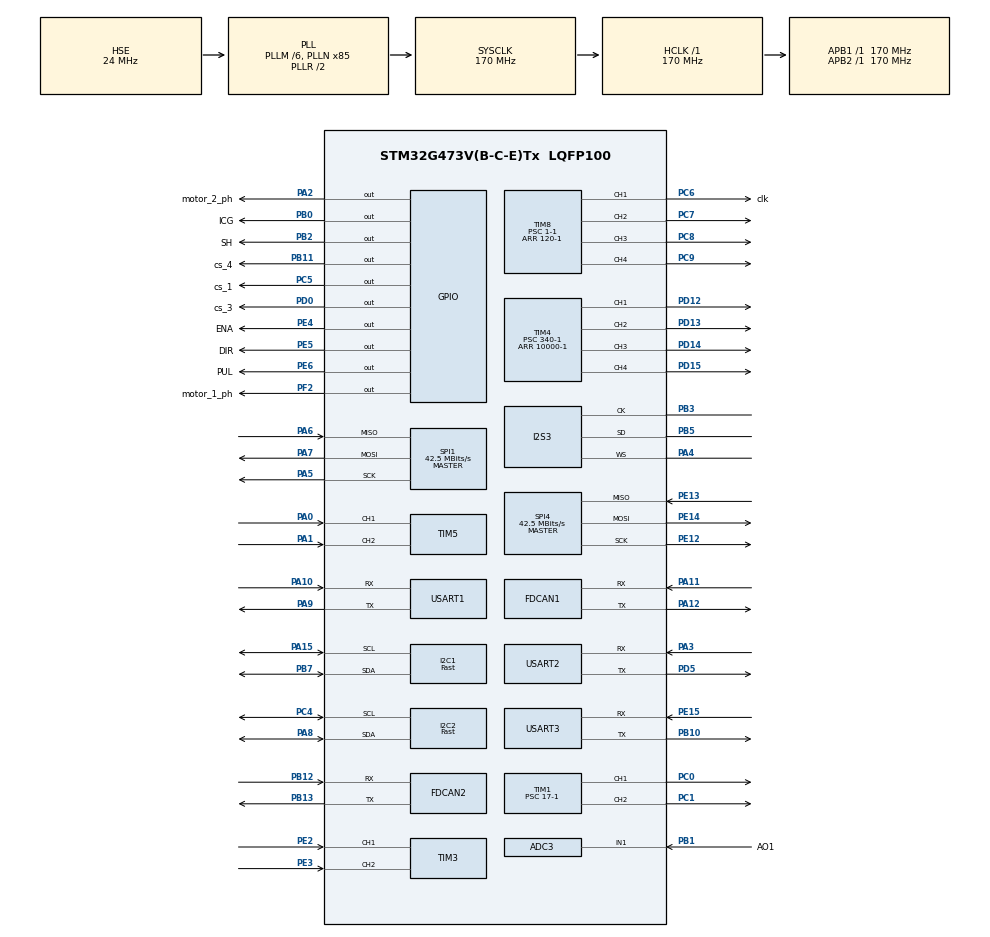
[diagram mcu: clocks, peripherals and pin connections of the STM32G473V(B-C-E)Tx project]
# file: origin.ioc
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ADC3.Channel-1\#ChannelRegularConversion=ADC_CHANNEL_1
ADC3.ClockPrescaler=ADC_CLOCK_SYNC_PCLK_DIV4
ADC3.DMAContinuousRequests=ENABLE
ADC3.ExternalTrigConv=ADC_EXTERNALTRIG_T7_TRGO
ADC3.NbrOfConversion=1
ADC3.NbrOfConversionFlag=1
ADC3.OffsetNumber-1\#ChannelRegularConversion=ADC_OFFSET_NONE
ADC3.Rank-1\#ChannelRegularConversion=1
ADC3.SamplingTime-1\#ChannelRegularConversion=ADC_SAMPLETIME_12CYCLES_5
ADC3.master=1
Dma.ADC3.0.Direction=DMA_PERIPH_TO_MEMORY
Dma.ADC3.0.EventEnable=DISABLE
Dma.ADC3.0.Instance=DMA1_Channel1
Dma.ADC3.0.MemDataAlignment=DMA_MDATAALIGN_HALFWORD
Dma.ADC3.0.MemInc=DMA_MINC_ENABLE
Dma.ADC3.0.Mode=DMA_NORMAL
Dma.ADC3.0.PeriphDataAlignment=DMA_PDATAALIGN_HALFWORD
Dma.ADC3.0.PeriphInc=DMA_PINC_DISABLE
Dma.ADC3.0.Polarity=HAL_DMAMUX_REQ_GEN_RISING
Dma.ADC3.0.Priority=DMA_PRIORITY_LOW
Dma.ADC3.0.RequestNumber=1
Dma.ADC3.0.SignalID=NONE
Dma.ADC3.0.SyncEnable=DISABLE
Dma.ADC3.0.SyncPolarity=HAL_DMAMUX_SYNC_NO_EVENT
Dma.ADC3.0.SyncRequestNumber=1
Dma.ADC3.0.SyncSignalID=NONE
Dma.Request0=ADC3
FDCAN1.CalculateBaudRateNominal=3541666
FDCAN1.CalculateTimeBitNominal=282
FDCAN1.CalculateTimeQuantumNominal=94.11764705882354
FDCAN2.CalculateBaudRateNominal=3541666
FDCAN2.CalculateTimeBitNominal=282
FDCAN2.CalculateTimeQuantumNominal=94.11764705882354
I2C1.I2C_Speed_Mode=I2C_Fast
I2C1.Timing=0x40621236
I2C2.I2C_Speed_Mode=I2C_Fast
I2C2.Timing=0x40621236
I2S3.AudioFreq=I2S_AUDIOFREQ_16K
I2S3.ErrorAudioFreq=0.0 %
I2S3.FullDuplexMode=I2S_FULLDUPLEXMODE_DISABLE
I2S3.Instance=SPI$Index
I2S3.RealAudioFreq=16.001 KHz
I2S3.VirtualMode=I2S_MODE_MASTER
Mcu.Family=STM32G4
Mcu.Name=STM32G473V(B-C-E)Tx
Mcu.Package=LQFP100
NVIC.DMA1_Channel1_IRQn=true\:0\:0\:false\:false\:true\:false\:true\:true
NVIC.PriorityGroup=NVIC_PRIORITYGROUP_4
NVIC.TIM2_IRQn=true\:0\:0\:false\:false\:true\:true\:true\:true
NVIC.TIM6_DAC_IRQn=true\:0\:0\:false\:false\:true\:true\:true\:true
PA0.Signal=S_TIM5_CH1
PA1.Signal=S_TIM5_CH2
PA10.Mode=Asynchronous
PA10.Signal=USART1_RX
PA11.Mode=FDCAN_Activate
PA11.Signal=FDCAN1_RX
PA12.Mode=FDCAN_Activate
PA12.Signal=FDCAN1_TX
PA13.Mode=Serial_Wire
PA13.Signal=SYS_JTMS-SWDIO
PA14.Mode=Serial_Wire
PA14.Signal=SYS_JTCK-SWCLK
PA15.Mode=I2C
PA15.Signal=I2C1_SCL
PA2.GPIO_Label=motor_2_ph
PA2.Signal=GPIO_Output
PA3.Mode=Asynchronous
PA3.Signal=USART2_RX
PA4.Mode=Half_Duplex_Master
PA4.Signal=I2S3_WS
PA5.Mode=Full_Duplex_Master
PA5.Signal=SPI1_SCK
PA6.Mode=Full_Duplex_Master
PA6.Signal=SPI1_MISO
PA7.Mode=Full_Duplex_Master
PA7.Signal=SPI1_MOSI
PA8.Mode=I2C
PA8.Signal=I2C2_SDA
PA9.Mode=Asynchronous
PA9.Signal=USART1_TX
PB0.GPIO_Label=ICG
PB0.Signal=GPIO_Output
PB1.GPIO_Label=AO1
PB1.Mode=IN1-Single-Ended
PB1.Signal=ADC3_IN1
PB10.Mode=Asynchronous
PB10.Signal=USART3_TX
PB11.GPIO_Label=cs_4
PB11.Signal=GPIO_Output
PB12.Mode=FDCAN_Activate
PB12.Signal=FDCAN2_RX
PB13.Mode=FDCAN_Activate
PB13.Signal=FDCAN2_TX
PB2.GPIO_Label=SH
PB2.GPIO_Speed=GPIO_SPEED_FREQ_VERY_HIGH
PB2.Signal=GPIO_Output
PB3.Mode=Half_Duplex_Master
PB3.Signal=I2S3_CK
PB5.Mode=Half_Duplex_Master
PB5.Signal=I2S3_SD
PB7.Mode=I2C
PB7.Signal=I2C1_SDA
PC0.Signal=S_TIM1_CH1
PC1.Signal=S_TIM1_CH2
PC10.Signal=UART4_TX
PC11.Signal=UART4_RX
PC12.Signal=UART5_TX
PC4.Mode=I2C
PC4.Signal=I2C2_SCL
PC5.GPIO_Label=cs_1
PC5.Signal=GPIO_Output
PC6.GPIO_Label=clk
PC6.Signal=S_TIM8_CH1
PC7.Signal=S_TIM8_CH2
PC8.Signal=S_TIM8_CH3
PC9.Signal=S_TIM8_CH4
PD0.GPIO_Label=cs_3
PD0.Signal=GPIO_Output
PD10.Signal=ADC5_IN7
PD11.Signal=ADC5_IN8
PD12.Signal=S_TIM4_CH1
PD13.Signal=S_TIM4_CH2
PD14.Signal=S_TIM4_CH3
PD15.Signal=S_TIM4_CH4
PD2.Signal=UART5_RX
PD3.Signal=S_TIM2_CH1
PD4.Signal=S_TIM2_CH2
PD5.Mode=Asynchronous
PD5.Signal=USART2_TX
PD6.Signal=S_TIM2_CH4
PD7.Signal=S_TIM2_CH3
PD8.Signal=ADC5_IN12
PD9.Signal=ADC5_IN13
PE12.Mode=Full_Duplex_Master
PE12.Signal=SPI4_SCK
PE13.Mode=Full_Duplex_Master
PE13.Signal=SPI4_MISO
PE14.Mode=Full_Duplex_Master
PE14.Signal=SPI4_MOSI
PE15.Mode=Asynchronous
PE15.Signal=USART3_RX
PE2.Signal=S_TIM3_CH1
PE3.Signal=S_TIM3_CH2
PE4.GPIO_Label=ENA
PE4.Signal=GPIO_Output
PE5.GPIO_Label=DIR
PE5.Signal=GPIO_Output
PE6.GPIO_Label=PUL
PE6.Signal=GPIO_Output
PE9.GPIO_Label=ccd_b
PE9.Signal=ADC3_IN2
PF0-OSC_IN.Mode=HSE-External-Oscillator
PF0-OSC_IN.Signal=RCC_OSC_IN
PF1-OSC_OUT.Mode=HSE-External-Oscillator
PF1-OSC_OUT.Signal=RCC_OSC_OUT
PF2.GPIO_Label=motor_1_ph
PF2.Signal=GPIO_Output
ProjectManager.HeapSize=0x200
ProjectManager.StackSize=0x400
ProjectManager.TargetToolchain=MDK-ARM V5.32
RCC.ADC12Freq_Value=170000000
RCC.ADC345Freq_Value=170000000
RCC.AHBFreq_Value=170000000
RCC.APB1Freq_Value=170000000
RCC.APB1TimFreq_Value=170000000
RCC.APB2Freq_Value=170000000
RCC.APB2TimFreq_Value=170000000
RCC.CortexFreq_Value=170000000
RCC.EXTERNAL_CLOCK_VALUE=12288000
RCC.HCLKFreq_Value=170000000
RCC.HSE_VALUE=24000000
RCC.HSI48_VALUE=48000000
RCC.HSI_VALUE=16000000
RCC.LSE_VALUE=32768
RCC.PLLM=RCC_PLLM_DIV6
RCC.PLLN=85
RCC.PLLSourceVirtual=RCC_PLLSOURCE_HSE
RCC.SYSCLKFreq_VALUE=170000000
RCC.SYSCLKSource=RCC_SYSCLKSOURCE_PLLCLK
RCC.USBFreq_Value=170000000
RCC.VCOOutputFreq_Value=340000000
SH.S_TIM1_CH1.0=TIM1_CH1,PWM Generation1 CH1
SH.S_TIM1_CH2.0=TIM1_CH2,PWM Generation2 CH2
SH.S_TIM2_CH1.0=TIM2_CH1
SH.S_TIM2_CH2.0=TIM2_CH2
SH.S_TIM2_CH3.0=TIM2_CH3
SH.S_TIM2_CH4.0=TIM2_CH4
SH.S_TIM3_CH1.0=TIM3_CH1,Encoder_Interface
SH.S_TIM3_CH2.0=TIM3_CH2,Encoder_Interface
SH.S_TIM4_CH1.0=TIM4_CH1,PWM Generation1 CH1
SH.S_TIM4_CH2.0=TIM4_CH2,PWM Generation2 CH2
SH.S_TIM4_CH3.0=TIM4_CH3,PWM Generation3 CH3
SH.S_TIM4_CH4.0=TIM4_CH4,PWM Generation4 CH4
SH.S_TIM5_CH1.0=TIM5_CH1,Encoder_Interface
SH.S_TIM5_CH2.0=TIM5_CH2,Encoder_Interface
SH.S_TIM8_CH1.0=TIM8_CH1,PWM Generation1 CH1
SH.S_TIM8_CH2.0=TIM8_CH2,PWM Generation2 CH2
SH.S_TIM8_CH3.0=TIM8_CH3,PWM Generation3 CH3
SH.S_TIM8_CH4.0=TIM8_CH4,PWM Generation4 CH4
SPI1.BaudRatePrescaler=SPI_BAUDRATEPRESCALER_4
SPI1.CalculateBaudRate=42.5 MBits/s
SPI1.Direction=SPI_DIRECTION_2LINES
SPI1.Mode=SPI_MODE_MASTER
SPI1.VirtualType=VM_MASTER
SPI4.BaudRatePrescaler=SPI_BAUDRATEPRESCALER_4
SPI4.CalculateBaudRate=42.5 MBits/s
SPI4.Direction=SPI_DIRECTION_2LINES
SPI4.Mode=SPI_MODE_MASTER
SPI4.VirtualType=VM_MASTER
TIM1.AutoReloadPreload=TIM_AUTORELOAD_PRELOAD_ENABLE
TIM1.Channel-PWM\ Generation1\ CH1=TIM_CHANNEL_1
TIM1.Channel-PWM\ Generation2\ CH2=TIM_CHANNEL_2
TIM1.PeriodNoDither=1000-1
TIM1.Prescaler=17-1
TIM2.AutoReloadPreload=TIM_AUTORELOAD_PRELOAD_ENABLE
TIM2.PeriodNoDither=5000-1
TIM2.Prescaler=170-1
TIM4.Channel-PWM\ Generation1\ CH1=TIM_CHANNEL_1
TIM4.Channel-PWM\ Generation2\ CH2=TIM_CHANNEL_2
TIM4.Channel-PWM\ Generation3\ CH3=TIM_CHANNEL_3
TIM4.Channel-PWM\ Generation4\ CH4=TIM_CHANNEL_4
TIM4.PeriodNoDither=10000-1
TIM4.Prescaler=340-1
TIM6.PeriodNoDither=170-1
TIM6.Prescaler=3000-1
TIM7.PeriodNoDither=120-1
TIM7.Prescaler=2-1
TIM7.TIM_MasterOutputTrigger=TIM_TRGO_UPDATE
TIM8.AutoReloadPreload=TIM_AUTORELOAD_PRELOAD_DISABLE
TIM8.Channel-PWM\ Generation1\ CH1=TIM_CHANNEL_1
TIM8.Channel-PWM\ Generation2\ CH2=TIM_CHANNEL_2
TIM8.Channel-PWM\ Generation3\ CH3=TIM_CHANNEL_3
TIM8.Channel-PWM\ Generation4\ CH4=TIM_CHANNEL_4
TIM8.PeriodNoDither=120-1
TIM8.Prescaler=1-1
USART1.VirtualMode-Asynchronous=VM_ASYNC
USART2.VirtualMode-Asynchronous=VM_ASYNC
USART3.VirtualMode-Asynchronous=VM_ASYNC
VP_SYS_VS_DBSignals.Mode=DisableDeadBatterySignals
VP_TIM1_VS_ClockSourceINT.Mode=Internal
VP_TIM2_VS_ClockSourceINT.Mode=Internal
VP_TIM4_VS_ClockSourceINT.Mode=Internal
VP_TIM6_VS_ClockSourceINT.Mode=Enable_Timer
VP_TIM7_VS_ClockSourceINT.Mode=Enable_Timer
VP_TIM8_VS_ClockSourceINT.Mode=Internal
board=custom

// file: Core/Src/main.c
/* USER CODE BEGIN Header */
/**
  ******************************************************************************
  * @file           : main.c
  * @brief          : Main program body
  ******************************************************************************
  * @attention
  *
  * Copyright (c) 2025 STMicroelectronics.
  * All rights reserved.
  *
  * This software is licensed under terms that can be found in the LICENSE file
  * in the root directory of this software component.
  * If no LICENSE file comes with this software, it is provided AS-IS.
  *
  ******************************************************************************
  */
/* USER CODE END Header */
#include "main.h"
#include "adc.h"
#include "dma.h"
#include "fdcan.h"
#include "i2c.h"
#include "i2s.h"
#include "spi.h"
#include "tim.h"
#include "usart.h"
#include "gpio.h"

/* USER CODE BEGIN Includes */
	#include "string.h"
/* USER CODE END Includes */

/* USER CODE BEGIN PM */
#define max(a, b) ((a) >= (b) ? (a) : (b))
#define min(a, b) ((a) <= (b) ? (a) : (b))
/* USER CODE END PM */

/* USER CODE BEGIN PV */
	static uint32_t fac_us = 0; // us延时倍乘数

	 uint8_t  ir_x[8] ;
/* USER CODE END PV */

void SystemClock_Config(void);
/* USER CODE BEGIN PFP */
void delay_us(uint32_t nus)
{
	uint32_t ticks;
	uint32_t told, tnow, tcnt = 0;
	uint32_t reload = SysTick->LOAD; // LOAD的值
	ticks = nus * fac_us;		//需要的节拍数
	told = SysTick->VAL;		//刚进入时的计数器值
	while (1)
	{
		tnow = SysTick->VAL;
		if (tnow != told)
		{
			if (tnow < told)
				tcnt += told - tnow; //这里注意一下SYSTICK是一个递减的计数器就可以了.
			else
				tcnt += reload - tnow + told;
			told = tnow;
			if (tcnt >= ticks)
				break; //时间超过/等于要延迟的时间,则退出.
		}
	};
}

 void HAL_TIM_PeriodElapsedCallback(TIM_HandleTypeDef *htim)
{
  if (htim->Instance == htim6.Instance)
    {
			if (HAL_GetTick() - icg_flag >= 10)
        {
            HAL_GPIO_WritePin(ICG_GPIO_Port, ICG_Pin, 1);
            HAL_GPIO_WritePin(SH_GPIO_Port, SH_Pin, 0);
            delay_us(2);
            HAL_GPIO_WritePin(SH_GPIO_Port, SH_Pin, 1);
            delay_us(4);
            HAL_GPIO_WritePin(ICG_GPIO_Port, ICG_Pin, 0);
            HAL_ADC_Start_DMA(&hadc3, (uint32_t *)ccd_rawdata, 1546);
            icg_flag = HAL_GetTick();
        }
        else
        {
            HAL_GPIO_WritePin(SH_GPIO_Port, SH_Pin, 0);
            delay_us(2);
            HAL_GPIO_WritePin(SH_GPIO_Port, SH_Pin, 1);
            delay_us(4);
        }

    }

}
/* USER CODE END PFP */

int main(void)
{

  /* MCU Configuration--------------------------------------------------------*/

  /* Reset of all peripherals, Initializes the Flash interface and the Systick. */
  HAL_Init();

  /* Configure the system clock */
  SystemClock_Config();

  /* Initialize all configured peripherals */
  MX_GPIO_Init();
  MX_DMA_Init();
  MX_TIM1_Init();
  MX_USART1_UART_Init();
  MX_USART3_UART_Init();
  MX_TIM2_Init();
  MX_TIM3_Init();
  MX_TIM5_Init();
  MX_SPI1_Init();
  MX_TIM8_Init();
  MX_TIM4_Init();
  MX_USART2_UART_Init();
  MX_ADC3_Init();
  MX_FDCAN1_Init();
  MX_FDCAN2_Init();
  MX_I2C1_Init();
  MX_I2C2_Init();
  MX_I2S3_Init();
  MX_SPI4_Init();
  MX_TIM6_Init();
  MX_TIM7_Init();
  /* USER CODE BEGIN 2 */
	//以下是定时器占用说明
	//tim1是给两个普通直流电机的，tim3是编码器1，tim5是编码器2，tim2只用于普通定时（利用中断）
	//tim6是给ccd的SH用，tim7是用来adc触发的  tim8是用于输出pwm给ccd的M tim4是用来给舵机用的  配置：340-1，10000-1
//  中断开启
HAL_TIM_Base_Start_IT(&htim2);
HAL_TIM_Base_Start_IT(&htim6);
HAL_TIM_Base_Start(&htim7);
//普通电机开启
HAL_TIM_PWM_Start(&htim1,TIM_CHANNEL_1);
HAL_TIM_PWM_Start(&htim1,TIM_CHANNEL_2);
HAL_TIM_Encoder_Start(&htim3,TIM_CHANNEL_ALL);
HAL_TIM_Encoder_Start(&htim5,TIM_CHANNEL_ALL);
//舵机
 HAL_TIM_PWM_Start(&htim8,TIM_CHANNEL_4);
HAL_TIM_PWM_Start(&htim8,TIM_CHANNEL_3);
 HAL_TIM_PWM_Start(&htim8,TIM_CHANNEL_2);
HAL_TIM_PWM_Start(&htim8,TIM_CHANNEL_1);
 HAL_TIM_PWM_Start(&htim4,TIM_CHANNEL_4);
HAL_TIM_PWM_Start(&htim4,TIM_CHANNEL_3);
 HAL_TIM_PWM_Start(&htim4,TIM_CHANNEL_2);
HAL_TIM_PWM_Start(&htim4,TIM_CHANNEL_1);

//灰度配置
//  set_adjust_mode(1);
//  HAL_Delay(500);
//
//  set_adjust_mode(0);
//  HAL_Delay(500);

 //tcs230配置
  HAL_UART_Receive_IT(&huart3, &RxData, 1);

  printf("AT+LIGHT+ON\r\n");
  printf("AT+LIGHT+ON\r\n");
  printf("AT+LIGHT+ON\r\n");
  printf("AT+LIGHT+ON\r\n");
  printf("AT+LIGHT+ON\r\n");
  printf("AT+LIGHT+ON\r\n");
	//普通电机配置
	speed_left = 0;
  speed_right = 0;
  speed_all = 0;
	PID_struct_init(&pid_left, POSITION_PID, 950, 700, 50, 0.5, 0);
  PID_struct_init(&pid_right, POSITION_PID, 950, 700, 50, 0.5, 0);

//ccd
int debug=0;
__HAL_TIM_SetCompare(&htim8,TIM_CHANNEL_1,60);

 //舵机 ，定时器4：通道3给钩子舵机，通道1，2给圆筒舵机，
 __HAL_TIM_SetCompare(&htim4,TIM_CHANNEL_3,1050);//580最上面到1050最下面
 int pw_servos=0;
	__HAL_TIM_SetCompare(&htim4,TIM_CHANNEL_1,1000);

 __HAL_TIM_SetCompare(&htim4,TIM_CHANNEL_2,1000);

//调试
char t[12];
sprintf(t,"l_w=%d,r_w=%d",l_w,r_w);
pid_left.set=15;
pid_right.set=15;
char enc[128];

step_move(3200,1);
  // set_motor_pwm(200,200);
  /* USER CODE END 2 */

  /* Infinite loop */
  /* USER CODE BEGIN WHILE */
  while (1)
  {
//		memcpy(ccd_data,ccd_rawdata,128*2);
//		HAL_Delay(10);
    /* USER CODE END WHILE */

    /* USER CODE BEGIN 3 */
//pw_servos=500;
//__HAL_TIM_SetCompare(&htim4,TIM_CHANNEL_1,pw_servos);
//__HAL_TIM_SetCompare(&htim4,TIM_CHANNEL_2,pw_servos);
//pw_servos=900;
//HAL_Delay(1000);
//__HAL_TIM_SetCompare(&htim4,TIM_CHANNEL_1,pw_servos);
//__HAL_TIM_SetCompare(&htim4,TIM_CHANNEL_2,pw_servos);
//HAL_Delay(1000);

//  sprintf(enc,"%ld\r\n",Encode_L);
//  HAL_UART_Transmit(&huart1,(uint8_t*)enc,strlen(enc),HAL_MAX_DELAY);

		deal_IRdata(&ir_x1,&ir_x2,&ir_x3,&ir_x4,&ir_x5,&ir_x6,&ir_x7,&ir_x8);

		sprintf(huidu,"%d,%d,%d,%d,%d,%d,%d,%d\r\t",ir_x1,ir_x2,ir_x3,ir_x4,ir_x5,ir_x6,ir_x7,ir_x8);
  HAL_UART_Transmit(&huart1,(uint8_t*)huidu,strlen(huidu),HAL_MAX_DELAY);
	HAL_Delay(300);
//    int32_t sum = 0;
//    _max = 0, _min = 65535;
//    for (int i = 0; i < 128; i++)
//    {
//        int32_t data = 0;
//        for (int j = 0; j < 8; j++)
//            data += (ccd_rawdata[272 + i * 8 + j] - 380);
//        ccd_data[i] = (data / 8);
//        sum += ccd_data[i];
        _max = max(_max, ccd_data[i]);
//        _min = min(_min, ccd_data[i]);
//    }
//    avg = sum / 128;

//   FindLines(&l, &r, ccd_data, 500, &l_w, &r_w);
////		sprintf(t,"l_w=%d,r_w=%d",l_w,r_w);
////
//HAL_UART_Transmit(&huart1,t,strlen(t),50);
//HAL_Delay(100);
  }
  /* USER CODE END 3 */
}

void SystemClock_Config(void)
{
  RCC_OscInitTypeDef RCC_OscInitStruct = {0};
  RCC_ClkInitTypeDef RCC_ClkInitStruct = {0};

  /** Configure the main internal regulator output voltage
  */
  HAL_PWREx_ControlVoltageScaling(PWR_REGULATOR_VOLTAGE_SCALE1_BOOST);

  /** Initializes the RCC Oscillators according to the specified parameters
  * in the RCC_OscInitTypeDef structure.
  */
  RCC_OscInitStruct.OscillatorType = RCC_OSCILLATORTYPE_HSE;
  RCC_OscInitStruct.HSEState = RCC_HSE_ON;
  RCC_OscInitStruct.PLL.PLLState = RCC_PLL_ON;
  RCC_OscInitStruct.PLL.PLLSource = RCC_PLLSOURCE_HSE;
  RCC_OscInitStruct.PLL.PLLM = RCC_PLLM_DIV6;
  RCC_OscInitStruct.PLL.PLLN = 85;
  RCC_OscInitStruct.PLL.PLLP = RCC_PLLP_DIV2;
  RCC_OscInitStruct.PLL.PLLQ = RCC_PLLQ_DIV2;
  RCC_OscInitStruct.PLL.PLLR = RCC_PLLR_DIV2;
  if (HAL_RCC_OscConfig(&RCC_OscInitStruct) != HAL_OK)
  {
    Error_Handler();
  }

  /** Initializes the CPU, AHB and APB buses clocks
  */
  RCC_ClkInitStruct.ClockType = RCC_CLOCKTYPE_HCLK|RCC_CLOCKTYPE_SYSCLK
                              |RCC_CLOCKTYPE_PCLK1|RCC_CLOCKTYPE_PCLK2;
  RCC_ClkInitStruct.SYSCLKSource = RCC_SYSCLKSOURCE_PLLCLK;
  RCC_ClkInitStruct.AHBCLKDivider = RCC_SYSCLK_DIV1;
  RCC_ClkInitStruct.APB1CLKDivider = RCC_HCLK_DIV1;
  RCC_ClkInitStruct.APB2CLKDivider = RCC_HCLK_DIV1;

  if (HAL_RCC_ClockConfig(&RCC_ClkInitStruct, FLASH_LATENCY_4) != HAL_OK)
  {
    Error_Handler();
  }
}

void Error_Handler(void)
{
  __disable_irq();
  while (1)
  {
  }
}
